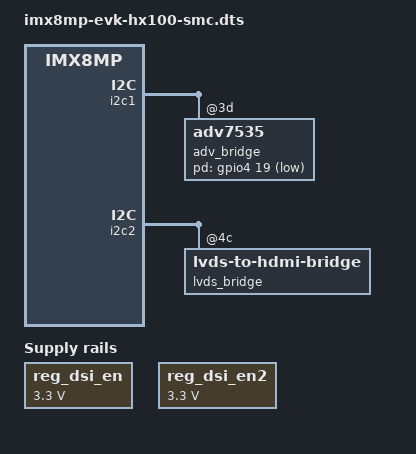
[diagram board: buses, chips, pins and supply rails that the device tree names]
// SPDX-License-Identifier: (GPL-2.0+ OR MIT)
/*
 * Copyright 2019 NXP
 */
#include "imx8mp-evk.dts"

/delete-node/ &reg_m2_3v3;
/delete-node/ &lvds_bl_pwren;
/{
	reg_dsi_en: dsien {
		compatible = "regulator-gpio";
		pinctrl-names = "default";
		pinctrl-0 = <&pinctrl_dsi_en>;
		regulator-min-microvolt = <3300000>;
		regulator-max-microvolt = <3300000>;
		regulator-name = "gpio_dvfs";
		gpios = <&gpio4 22 GPIO_ACTIVE_LOW>;
		states = <3300000 0x1 3300000 0x0>;
		enable-active-low;
		regulator-always-on;
	};

	reg_dsi_en2: dsien2 {
		compatible = "regulator-gpio";
		pinctrl-names = "default";
		pinctrl-0 = <&pinctrl_dsi_en2>;
		regulator-min-microvolt = <3300000>;
		regulator-max-microvolt = <3300000>;
		regulator-name = "gpio_dvfs2";
		gpios = <&gpio2 10 GPIO_ACTIVE_HIGH>;
		states = <3300000 0x1 3300000 0x0>;
		enable-active-high;
		regulator-always-on;
	};


};

&i2c1 {
	adv_bridge: adv7535@3d {
        pinctrl-0 = <&pinctrl_lvds>;
        pd-gpios = <&gpio4 19 GPIO_ACTIVE_LOW>;
	};

};

&i2c2 {
	lvds_bridge: lvds-to-hdmi-bridge@4c {
	/delete-property/ reset-gpios; 
	};

};

&iomuxc {
	pinctrl-names = "default";
	pinctrl-0 = <&pinctrl_hog>,<&pinctrl_m2_5g>;

	pinctrl_dsi_en2: dsi_en2grp {
		fsl,pins = <
			MX8MP_IOMUXC_SD1_RESET_B__GPIO2_IO10		0x19
		>;
	};

	pinctrl_m2_5g: m2vgrp {
		/delete-property/ fsl,pins; 
		fsl,pins = <
			MX8MP_IOMUXC_GPIO1_IO03__GPIO1_IO03		0x154
			MX8MP_IOMUXC_NAND_DATA00__GPIO3_IO06	0x154
			MX8MP_IOMUXC_NAND_DATA01__GPIO3_IO07	0x154
			MX8MP_IOMUXC_NAND_DATA02__GPIO3_IO08	0x154
			MX8MP_IOMUXC_NAND_DATA03__GPIO3_IO09	0x154
			//MX8MP_IOMUXC_SD1_RESET_B__GPIO2_IO10	0x154
		>;
	};
};
